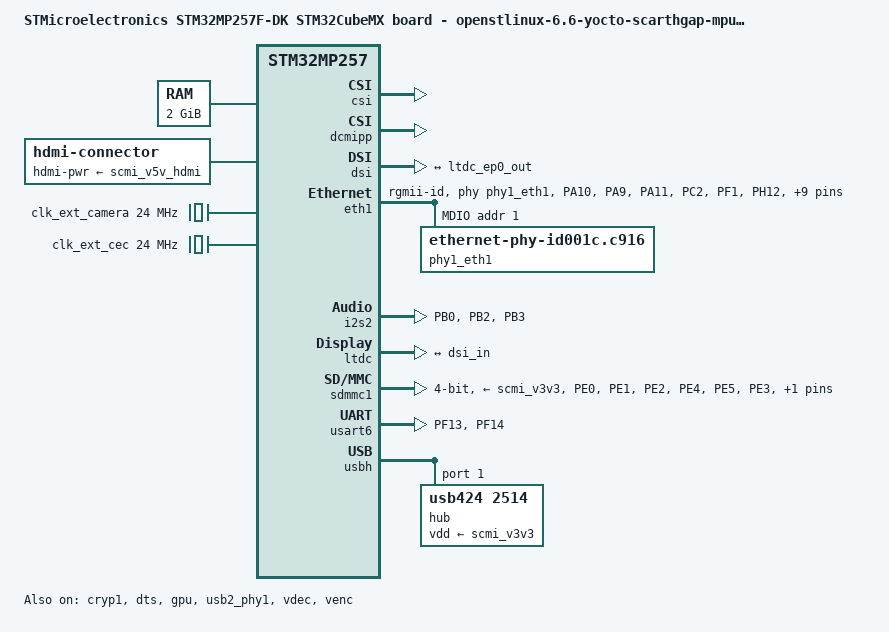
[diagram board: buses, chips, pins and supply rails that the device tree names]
// SPDX-License-Identifier: (GPL-2.0-only OR BSD-3-Clause)
/*
 * Copyright (C) 2026, STMicroelectronics - All Rights Reserved
 * Author: STM32CubeMX code generation for STMicroelectronics.
 */

/* For more information on Device Tree configuration, please refer to
 * https://wiki.st.com/stm32mpu/wiki/Category:Device_tree_configuration
 */

/dts-v1/;

#include <dt-bindings/pinctrl/stm32-pinfunc.h>
#include "stm32mp257.dtsi"
#include "stm32mp25xf.dtsi"
#include "stm32mp257f-watermelon-wine-1a-mx-resmem.dtsi"
#include "stm32mp25xxak-pinctrl.dtsi"

/* USER CODE BEGIN includes */
#include <dt-bindings/gpio/gpio.h>
#include <dt-bindings/input/input.h>
#include <dt-bindings/leds/common.h>
#include "stm32mp25-pinctrl.dtsi"
/* USER CODE END includes */

/ {
	model = "STMicroelectronics STM32MP257F-DK STM32CubeMX board - openstlinux-6.6-yocto-scarthgap-mpu-v26.02.18";
	compatible = "st,stm32mp257f-watermelon-wine-1a-mx", "st,stm32mp257f-dk", "st,stm32mp257";

	memory@80000000 {
		device_type = "memory";
		reg = <0x0 0x80000000 0x0 0x80000000>;

		/* USER CODE BEGIN memory */
		/* USER CODE END memory */
	};

	/* USER CODE BEGIN root */

	aliases{
		serial0 = &usart6;
	};

	chosen{
		stdout-path = "serial0:115200n8";
		#address-cells = <2>;
		#size-cells = <2>;
		ranges;
	};

	hdmi:connector{
		compatible = "hdmi-connector";
		label = "hdmi";
		type = "a";
		hdmi-pwr-supply = <&scmi_v5v_hdmi>;
	};

	/* USER CODE END root */

	clocks{

		/* USER CODE BEGIN clocks */

		clk_ext_camera:clk-ext-camera{
			#clock-cells = <0>;
			compatible = "fixed-clock";
			clock-frequency = <24000000>;
		};

		clk_ext_cec:clk-ext-cec{
			#clock-cells = <0>;
			compatible = "fixed-clock";
			clock-frequency = <24000000>;
		};
		/* USER CODE END clocks */
	};

}; /*root*/

&pinctrl {

	eth1_mdio_pins_mx: eth1_mdio_mx-0 {
		pins1 {
			pinmux = <STM32_PINMUX('A', 10, AF10)>; /* ETH1_MDIO */
			bias-disable;
			drive-push-pull;
			slew-rate = <0>;
			st,io-clk-edge = <0>;
			st,io-retime = <0>;
			st,io-delay-path = <0>;
			st,io-delay = <0>;
		};
		pins2 {
			pinmux = <STM32_PINMUX('A', 9, AF10)>; /* ETH1_MDC */
			bias-disable;
			drive-push-pull;
			slew-rate = <2>;
			st,io-clk-edge = <0>;
			st,io-retime = <0>;
			st,io-delay-path = <0>;
			st,io-delay = <0>;
		};
	};

	eth1_mdio_sleep_pins_mx: eth1_mdio_sleep_mx-0 {
		pins {
			pinmux = <STM32_PINMUX('A', 9, ANALOG)>, /* ETH1_MDC */
					 <STM32_PINMUX('A', 10, ANALOG)>; /* ETH1_MDIO */
		};
	};

	eth1_rgmii_pins_mx: eth1_rgmii_mx-0 {
		pins1 {
			pinmux = <STM32_PINMUX('A', 11, AF10)>, /* ETH1_RGMII_RX_CTL */
					 <STM32_PINMUX('C', 2, AF10)>, /* ETH1_RGMII_RXD1 */
					 <STM32_PINMUX('F', 1, AF10)>, /* ETH1_RGMII_RXD0 */
					 <STM32_PINMUX('H', 12, AF10)>, /* ETH1_RGMII_RXD2 */
					 <STM32_PINMUX('H', 13, AF10)>; /* ETH1_RGMII_RXD3 */
			bias-disable;
			drive-push-pull;
			st,io-clk-edge = <1>;
			st,io-retime = <1>;
			st,io-delay-path = <0>;
			st,io-delay = <0>;
		};
		pins2 {
			pinmux = <STM32_PINMUX('A', 13, AF10)>, /* ETH1_RGMII_TX_CTL */
					 <STM32_PINMUX('A', 15, AF10)>, /* ETH1_RGMII_TXD0 */
					 <STM32_PINMUX('C', 1, AF10)>, /* ETH1_RGMII_TXD1 */
					 <STM32_PINMUX('H', 10, AF10)>, /* ETH1_RGMII_TXD2 */
					 <STM32_PINMUX('H', 11, AF10)>; /* ETH1_RGMII_TXD3 */
			bias-disable;
			drive-push-pull;
			slew-rate = <3>;
			st,io-clk-edge = <1>;
			st,io-retime = <1>;
			st,io-delay-path = <0>;
			st,io-delay = <0>;
		};
		pins3 {
			pinmux = <STM32_PINMUX('A', 14, AF10)>; /* ETH1_RGMII_RX_CLK */
			bias-disable;
			drive-push-pull;
			slew-rate = <0>;
			st,io-clk-edge = <0>;
			st,io-retime = <0>;
			st,io-delay-path = <0>;
			st,io-delay = <0>;
		};
		pins4 {
			pinmux = <STM32_PINMUX('C', 0, AF12)>; /* ETH1_RGMII_GTX_CLK */
			bias-disable;
			drive-push-pull;
			slew-rate = <3>;
			st,io-clk-edge = <0>;
			st,io-retime = <0>;
			st,io-delay-path = <0>;
			st,io-delay = <0>;
		};
		pins5 {
			pinmux = <STM32_PINMUX('H', 9, AF10)>; /* ETH1_RGMII_CLK125 */
			bias-disable;
			drive-push-pull;
			slew-rate = <3>;
		};
	};

	eth1_rgmii_sleep_pins_mx: eth1_rgmii_sleep_mx-0 {
		pins {
			pinmux = <STM32_PINMUX('A', 11, ANALOG)>, /* ETH1_RGMII_RX_CTL */
					 <STM32_PINMUX('A', 13, ANALOG)>, /* ETH1_RGMII_TX_CTL */
					 <STM32_PINMUX('A', 14, ANALOG)>, /* ETH1_RGMII_RX_CLK */
					 <STM32_PINMUX('A', 15, ANALOG)>, /* ETH1_RGMII_TXD0 */
					 <STM32_PINMUX('C', 0, ANALOG)>, /* ETH1_RGMII_GTX_CLK */
					 <STM32_PINMUX('C', 1, ANALOG)>, /* ETH1_RGMII_TXD1 */
					 <STM32_PINMUX('C', 2, ANALOG)>, /* ETH1_RGMII_RXD1 */
					 <STM32_PINMUX('F', 1, ANALOG)>, /* ETH1_RGMII_RXD0 */
					 <STM32_PINMUX('H', 9, ANALOG)>, /* ETH1_RGMII_CLK125 */
					 <STM32_PINMUX('H', 10, ANALOG)>, /* ETH1_RGMII_TXD2 */
					 <STM32_PINMUX('H', 11, ANALOG)>, /* ETH1_RGMII_TXD3 */
					 <STM32_PINMUX('H', 12, ANALOG)>, /* ETH1_RGMII_RXD2 */
					 <STM32_PINMUX('H', 13, ANALOG)>; /* ETH1_RGMII_RXD3 */
		};
	};

	i2s2_pins_mx: i2s2_mx-0 {
		pins {
			pinmux = <STM32_PINMUX('B', 0, AF2)>, /* I2S2_CK */
					 <STM32_PINMUX('B', 2, AF2)>, /* I2S2_SDO */
					 <STM32_PINMUX('B', 3, AF2)>; /* I2S2_WS */
			bias-disable;
			drive-push-pull;
			slew-rate = <0>;
		};
	};

	i2s2_sleep_pins_mx: i2s2_sleep_mx-0 {
		pins {
			pinmux = <STM32_PINMUX('B', 0, ANALOG)>, /* I2S2_CK */
					 <STM32_PINMUX('B', 2, ANALOG)>, /* I2S2_SDO */
					 <STM32_PINMUX('B', 3, ANALOG)>; /* I2S2_WS */
		};
	};

	sdmmc1_pins_mx: sdmmc1_mx-0 {
		pins1 {
			pinmux = <STM32_PINMUX('E', 0, AF10)>, /* SDMMC1_D2 */
					 <STM32_PINMUX('E', 1, AF10)>, /* SDMMC1_D3 */
					 <STM32_PINMUX('E', 2, AF10)>, /* SDMMC1_CMD */
					 <STM32_PINMUX('E', 4, AF10)>, /* SDMMC1_D0 */
					 <STM32_PINMUX('E', 5, AF10)>; /* SDMMC1_D1 */
			bias-disable;
			drive-push-pull;
			slew-rate = <1>;
		};
		pins2 {
			pinmux = <STM32_PINMUX('E', 3, AF10)>; /* SDMMC1_CK */
			bias-disable;
			drive-push-pull;
			slew-rate = <2>;
		};
	};

	sdmmc1_opendrain_pins_mx: sdmmc1_opendrain_mx-0 {
		pins1 {
			pinmux = <STM32_PINMUX('E', 0, AF10)>, /* SDMMC1_D2 */
					 <STM32_PINMUX('E', 1, AF10)>, /* SDMMC1_D3 */
					 <STM32_PINMUX('E', 4, AF10)>, /* SDMMC1_D0 */
					 <STM32_PINMUX('E', 5, AF10)>; /* SDMMC1_D1 */
			bias-disable;
			drive-push-pull;
			slew-rate = <1>;
		};
		pins2 {
			pinmux = <STM32_PINMUX('E', 2, AF10)>; /* SDMMC1_CMD */
			bias-disable;
			drive-open-drain;
			slew-rate = <1>;
		};
		pins3 {
			pinmux = <STM32_PINMUX('E', 3, AF10)>; /* SDMMC1_CK */
			bias-disable;
			drive-push-pull;
			slew-rate = <2>;
		};
	};

	sdmmc1_sleep_pins_mx: sdmmc1_sleep_mx-0 {
		pins {
			pinmux = <STM32_PINMUX('E', 0, ANALOG)>, /* SDMMC1_D2 */
					 <STM32_PINMUX('E', 1, ANALOG)>, /* SDMMC1_D3 */
					 <STM32_PINMUX('E', 2, ANALOG)>, /* SDMMC1_CMD */
					 <STM32_PINMUX('E', 3, ANALOG)>, /* SDMMC1_CK */
					 <STM32_PINMUX('E', 4, ANALOG)>, /* SDMMC1_D0 */
					 <STM32_PINMUX('E', 5, ANALOG)>; /* SDMMC1_D1 */
		};
	};

	usart6_pins_mx: usart6_mx-0 {
		pins1 {
			pinmux = <STM32_PINMUX('F', 13, AF3)>; /* USART6_TX */
			bias-disable;
			drive-push-pull;
			slew-rate = <0>;
		};
		pins2 {
			pinmux = <STM32_PINMUX('F', 14, AF3)>; /* USART6_RX */
			bias-disable;
			drive-push-pull;
		};
	};

	usart6_idle_pins_mx: usart6_idle_mx-0 {
		pins1 {
			pinmux = <STM32_PINMUX('F', 13, ANALOG)>; /* USART6_TX */
		};
		pins2 {
			pinmux = <STM32_PINMUX('F', 14, AF3)>; /* USART6_RX */
			bias-disable;
			drive-push-pull;
		};
	};

	usart6_sleep_pins_mx: usart6_sleep_mx-0 {
		pins {
			pinmux = <STM32_PINMUX('F', 13, ANALOG)>, /* USART6_TX */
					 <STM32_PINMUX('F', 14, ANALOG)>; /* USART6_RX */
		};
	};

	/* USER CODE BEGIN pinctrl */
	/* USER CODE END pinctrl */
};

&pinctrl_z {

	/* USER CODE BEGIN pinctrl_z */
	/* USER CODE END pinctrl_z */
};

&cryp1 {
	status = "okay";

	/* USER CODE BEGIN cryp1 */
	/* USER CODE END cryp1 */
};

&csi {
	status = "okay";

	/* USER CODE BEGIN csi */
	vdd-supply = <&scmi_vddcore>;
	vdda18-supply = <&scmi_v1v8>;
	/* USER CODE END csi */
};

&dcmipp {
	status = "okay";

	/* USER CODE BEGIN dcmipp */

	/* USER CODE END dcmipp */
};

&dsi {
	status = "okay";

	/* USER CODE BEGIN dsi */
	vdd-supply = <&scmi_vddcore>;
	vdda18-supply = <&scmi_v1v8>;

    ports{
		#address-cells = <1>;
		#size-cells = <0>;

		port@0{
			reg = <0>;

			dsi_in:endpoint{
				remote-endpoint = <&ltdc_ep0_out>;
			};
		};
	};
	/* USER CODE END dsi */
};

&dts {
	status = "okay";

	/* USER CODE BEGIN dts */
	/* USER CODE END dts */
};

&eth1 {
	pinctrl-names = "default", "sleep";
	pinctrl-0 = <&eth1_mdio_pins_mx>, <&eth1_rgmii_pins_mx>;
	pinctrl-1 = <&eth1_mdio_sleep_pins_mx>, <&eth1_rgmii_sleep_pins_mx>;
	status = "okay";

	/* USER CODE BEGIN eth1 */
	phy-mode = "rgmii-id";
	max-speed = <1000>;
	phy-handle = <&phy1_eth1>;
	/*st,eth-ptp-from-rcc;*/

	mdio1{
		#address-cells = <1>;
		#size-cells = <0>;
		compatible = "snps,dwmac-mdio";

		phy1_eth1:ethernet-phy@1{
			compatible = "ethernet-phy-id001c.c916";
			/* No Reset pins */
			realtek,eee-disable;
			reg = <1>;
		};
	};
	/* USER CODE END eth1 */
};

&gpu {
	status = "okay";

	/* USER CODE BEGIN gpu */
	contiguous-area = <&gpu_reserved>;
	/* USER CODE END gpu */
};

&hpdma {
	status = "okay";

	/* USER CODE BEGIN hpdma */
	memory-region = <&hpdma1_lli>;
	/* USER CODE END hpdma */
};

&hpdma2 {
	status = "okay";

	/* USER CODE BEGIN hpdma2 */
	memory-region = <&hpdma2_lli>;
	/* USER CODE END hpdma2 */
};

&hpdma3 {
	status = "okay";

	/* USER CODE BEGIN hpdma3 */
	memory-region = <&hpdma3_lli>;
	/* USER CODE END hpdma3 */
};

&i2s2 {
	pinctrl-names = "default", "sleep";
	pinctrl-0 = <&i2s2_pins_mx>;
	pinctrl-1 = <&i2s2_sleep_pins_mx>;
	status = "okay";

	/* USER CODE BEGIN i2s2 */
	/* USER CODE END i2s2 */
};

&ltdc {
	status = "okay";

	/* USER CODE BEGIN ltdc */
	port{
		#address-cells = <1>;
		#size-cells = <0>;

        ltdc_ep0_out:endpoint@0{
			reg = <0>;
			remote-endpoint = <&dsi_in>;
		};
	};
	/* USER CODE END ltdc */
};

&sdmmc1 {
	pinctrl-names = "default", "opendrain", "sleep";
	pinctrl-0 = <&sdmmc1_pins_mx>;
	pinctrl-1 = <&sdmmc1_opendrain_pins_mx>;
	pinctrl-2 = <&sdmmc1_sleep_pins_mx>;
	status = "okay";

	/* USER CODE BEGIN sdmmc1 */
	cd-gpios = <&gpiod 3 (GPIO_ACTIVE_LOW | GPIO_PULL_UP)>;
	disable-wp;
	st,neg-edge;
	bus-width = <4>;
	vmmc-supply = <&scmi_v3v3>;
	vqmmc-supply = <&scmi_vddio1>;
	sd-uhs-sdr12;
	sd-uhs-sdr25;
	sd-uhs-sdr50;
	sd-uhs-ddr50;
	sd-uhs-sdr104;
	/* USER CODE END sdmmc1 */
};

&usart6 {
	pinctrl-names = "default", "idle", "sleep";
	pinctrl-0 = <&usart6_pins_mx>;
	pinctrl-1 = <&usart6_idle_pins_mx>;
	pinctrl-2 = <&usart6_sleep_pins_mx>;
	status = "okay";

	/* USER CODE BEGIN usart6 */
    /delete-property/dmas;
	/delete-property/dma-names;
	/* USER CODE END usart6 */
};

&usb2_phy1 {
	status = "okay";

	/* USER CODE BEGIN usb2_phy1 */
	vdd33-supply = <&scmi_vdd3v3_usb>;
	/* USER CODE END usb2_phy1 */
};

&usbh {
	status = "okay";

	/* USER CODE BEGIN usbh */
	usbh_ehci:usb@482f0000{
		#address-cells = <1>;
		#size-cells = <0>;

		hub@1{
			compatible = "usb424,2514";
			reg = <1>;
			vdd-supply = <&scmi_v3v3>;
		};
	};
	/* USER CODE END usbh */
};

&vdec {
	status = "okay";

	/* USER CODE BEGIN vdec */
	/* USER CODE END vdec */
};

&venc {
	status = "okay";

	/* USER CODE BEGIN venc */
	/* USER CODE END venc */
};

/* USER CODE BEGIN addons */
&scmi_regu {
	scmi_vddio1: regulator@0 {
		regulator-min-microvolt = <1800000>;
		regulator-max-microvolt = <3300000>;
	};
	scmi_vddcore: regulator@b {
		reg = <VOLTD_SCMI_STPMIC2_BUCK2>;
		regulator-name = "vddcore";
	};
	scmi_v1v8: regulator@e {
		reg = <VOLTD_SCMI_STPMIC2_BUCK5>;
		regulator-name = "v1v8";
	};
	scmi_v3v3: regulator@10 {
		reg = <VOLTD_SCMI_STPMIC2_BUCK7>;
		regulator-name = "v3v3";
	};
	scmi_vdd_emmc: regulator@12 {
		reg = <VOLTD_SCMI_STPMIC2_LDO2>;
		regulator-name = "vdd_emmc";
	};
	scmi_vdd3v3_usb: regulator@14 {
		reg = <VOLTD_SCMI_STPMIC2_LDO4>;
		regulator-name = "vdd3v3_usb";
	};
	scmi_v5v_hdmi: regulator@15 {
		reg = <VOLTD_SCMI_STPMIC2_LDO5>;
		regulator-name = "v5v_hdmi";
	};
	scmi_v5v_vconn: regulator@16 {
		reg = <VOLTD_SCMI_STPMIC2_LDO6>;
		regulator-name = "v5v_vconn";
	};
	scmi_vdd_sdcard: regulator@17 {
		reg = <VOLTD_SCMI_STPMIC2_LDO7>;
		regulator-name = "vdd_sdcard";
	};
};
/* USER CODE END addons */

